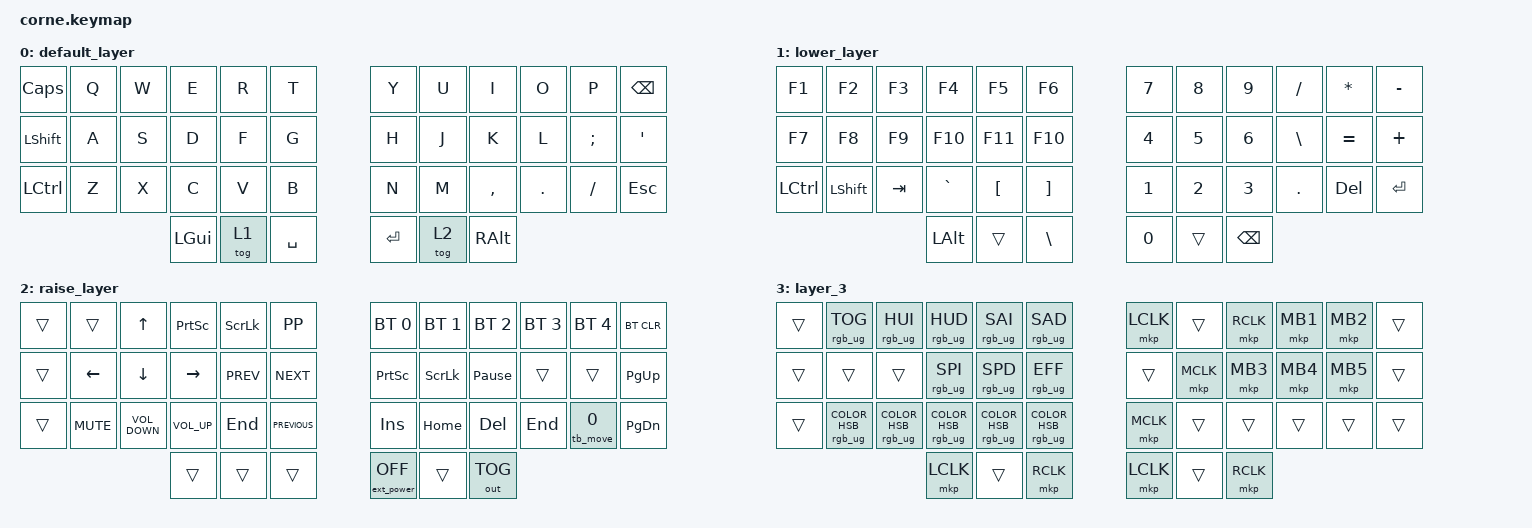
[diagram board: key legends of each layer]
/*
 * Copyright (c) 2020 The ZMK Contributors
 *
 * SPDX-License-Identifier: MIT
 */

#include <input/processors.dtsi>
#include <dt-bindings/led/led.h>
#include <dt-bindings/zmk/trackball_pim447.h>
#include <dt-bindings/zmk/mouse.h> /* 마우스 버튼 매크로 사용 */
/* #include <behaviors.dtsi> 표준 ZMK 행동 정의 포함 */
#include <dt-bindings/zmk/bt.h>
#include <dt-bindings/zmk/ext_power.h>
#include <dt-bindings/zmk/outputs.h>
#include <dt-bindings/zmk/rgb.h>
#include <dt-bindings/zmk/keys.h>

/ {
    keymap {
        compatible = "zmk,keymap";

        default_layer {
            bindings = <
&kp CAPSLOCK    &kp Q  &kp W  &kp E     &kp R   &kp T        &kp Y    &kp U   &kp I      &kp O    &kp P     &kp BACKSPACE
&kp LEFT_SHIFT  &kp A  &kp S  &kp D     &kp F   &kp G        &kp H    &kp J   &kp K      &kp L    &kp SEMI  &kp SQT
&kp LCTRL       &kp Z  &kp X  &kp C     &kp V   &kp B        &kp N    &kp M   &kp COMMA  &kp DOT  &kp FSLH  &kp ESC
                              &kp LGUI  &tog 1  &kp SPACE    &kp RET  &tog 2  &kp RALT
            >;
        };

        
        lower_layer {
            bindings = <
&kp F1     &kp F2          &kp F3   &kp F4        &kp F5            &kp F6               &kp NUMBER_7  &kp NUMBER_8  &kp NUMBER_9   &kp SLASH  &kp ASTERISK  &kp MINUS
&kp F7     &kp F8          &kp F9   &kp F10       &kp F11           &kp F10              &kp NUMBER_4  &kp N5        &kp NUMBER_6   &kp BSLH   &kp EQUAL     &kp PLUS
&kp LCTRL  &kp LEFT_SHIFT  &kp TAB  &kp GRAVE     &kp LEFT_BRACKET  &kp RIGHT_BRACKET    &kp NUMBER_1  &kp NUMBER_2  &kp NUMBER_3   &kp DOT    &kp DELETE    &kp ENTER
                                    &kp LEFT_ALT  &trans            &kp BSLH             &kp NUMBER_0  &trans        &kp BACKSPACE
            >;
        };

        
        raise_layer {
            bindings = <
&trans  &trans          &kp UP_ARROW       &kp PRINTSCREEN  &kp SCROLLLOCK  &kp K_PP          &bt BT_SEL 0       &bt BT_SEL 1    &bt BT_SEL 2     &bt BT_SEL 3  &bt BT_SEL 4  &bt BT_CLR
&trans  &kp LEFT_ARROW  &kp DOWN_ARROW     &kp RIGHT_ARROW  &kp K_PREV      &kp K_NEXT        &kp PRINTSCREEN    &kp SCROLLLOCK  &kp PAUSE_BREAK  &trans        &trans        &kp PAGE_UP
&trans  &kp K_MUTE      &kp C_VOLUME_DOWN  &kp C_VOLUME_UP  &kp END         &kp K_PREVIOUS    &kp INS            &kp HOME        &kp DELETE       &kp END       &tb_move 0    &kp PAGE_DOWN
                                           &trans           &trans          &trans            &ext_power EP_OFF  &trans          &out OUT_TOG
            >;
        };

        
        layer_3 {
            bindings = <
/* 마우스 버튼 및 모드 토글 */
&trans    &rgb_ug RGB_TOG                 &rgb_ug RGB_HUI                   &rgb_ug RGB_HUD                  &rgb_ug RGB_SAI                   &rgb_ug RGB_SAD                     &mkp LCLK       &trans        &mkp RCLK  &mkp MB1  &mkp MB2  &trans
&trans    &trans                          &trans                            &rgb_ug RGB_SPI                  &rgb_ug RGB_SPD                   &rgb_ug RGB_EFF                     &trans          &mkp MCLK     &mkp MB3   &mkp MB4  &mkp MB5  &trans
&trans    &rgb_ug RGB_COLOR_HSB(0,93,49)  &rgb_ug RGB_COLOR_HSB(245,91,50)  &rgb_ug RGB_COLOR_HSB(60,97,53)  &rgb_ug RGB_COLOR_HSB(119,92,52)  &rgb_ug RGB_COLOR_HSB(301,88,49)    &mkp MCLK       &trans        &trans     &trans    &trans    &trans
                                                                            &mkp LCLK                        &trans                            &mkp RCLK                           &mkp LCLK       &trans        &mkp RCLK
            >;    
        };
    };

    /* 
     * 조건부 레이어: 
     * Layer 1 (Lower)과 Layer 2 (Raise)가 동시에 활성화되면 Layer 3가 활성화됩니다.
     */
    conditional_layers {
        compatible = "zmk,conditional-layers";

        trackball {
            if-layers = <1 2>; /* Layer 1 AND Layer 2 must be active */
            then-layer = <3>;
        };
    };
};
